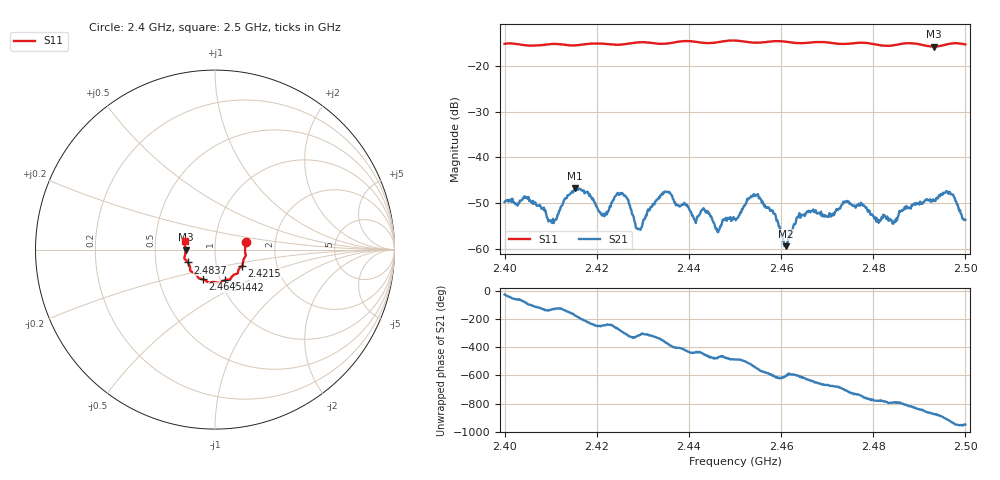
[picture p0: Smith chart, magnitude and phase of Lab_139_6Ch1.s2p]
# Hz S RI R 50
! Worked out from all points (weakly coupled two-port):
!   601 points, 2.4 GHz to 2.5 GHz, reference 50 ohm
!   highest |S21| = -46.80 dB at 2.4153 GHz (marker M1); lowest = -59.4 dB at 2.461 GHz (marker M2)
!   lowest |S11| = -15.7 dB at 2.4932 GHz (marker M3), VSWR 1.39, Z = 35.9 - j0.0616 ohm
!   |S11| at or under -10 dB: start of sweep to end of sweep
!   S12 and S22 are empty: the file has one direction only
!   S11 on the Smith chart (normalised r, x): 2.4 GHz: 1.41, +0.12; 2.4215 GHz: 1.33, -0.25; 2.4442 GHz: 1.05, -0.37; 2.4645 GHz: 0.83, -0.29; 2.4837 GHz: 0.73, -0.11; 2.5 GHz: 0.71, +0.07
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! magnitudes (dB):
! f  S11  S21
! 2.4 GHz  -15.1  -49.8
! 2.4047 GHz  -15.4  -48.6
! 2.4107 GHz  -15.1  -54.4
! 2.4153 GHz  -15.5  -46.8
! 2.4167 GHz  -15.3  -47.2
! 2.4215 GHz  -15.1  -52.7
! 2.4257 GHz  -15.3  -48.0
! 2.4292 GHz  -14.8  -55.6
! 2.4333 GHz  -15.1  -49.2
! 2.4442 GHz  -15.0  -51.9
! 2.4462 GHz  -14.8  -56.3
! 2.45 GHz  -14.4  -53.5
! 2.4545 GHz  -14.9  -48.4
! 2.461 GHz  -14.7  -59.4
! 2.4645 GHz  -15.0  -52.6
! 2.4667 GHz  -14.8  -51.7
! 2.4742 GHz  -15.1  -49.7
! 2.4833 GHz  -15.6  -53.9
! 2.4837 GHz  -15.5  -53.7
! 2.4932 GHz  -15.7  -49.4
! 2.497 GHz  -15.0  -48.1
! 2.5 GHz  -15.3  -53.6
